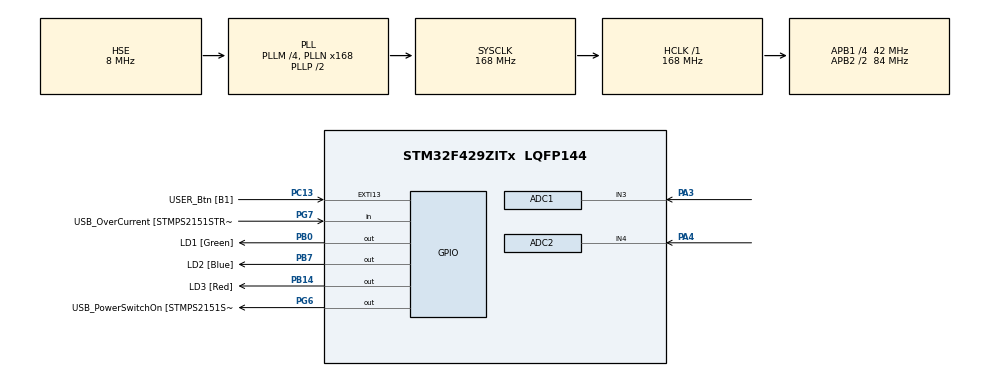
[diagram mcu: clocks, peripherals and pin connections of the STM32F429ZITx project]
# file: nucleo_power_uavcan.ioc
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ADC1.Channel-0\#ChannelRegularConversion=ADC_CHANNEL_3
ADC1.EnableAnalogWatchDog=false
ADC1.InjNumberOfConversion=0
ADC1.NbrOfConversion=1
ADC1.NbrOfConversionFlag=1
ADC1.Rank-0\#ChannelRegularConversion=1
ADC1.SamplingTime-0\#ChannelRegularConversion=ADC_SAMPLETIME_112CYCLES
ADC1.ScanConvMode=DISABLE
ADC1.master=1
ADC2.Channel-3\#ChannelRegularConversion=ADC_CHANNEL_4
ADC2.NbrOfConversionFlag=1
ADC2.Rank-3\#ChannelRegularConversion=1
ADC2.SamplingTime-3\#ChannelRegularConversion=ADC_SAMPLETIME_112CYCLES
Mcu.Family=STM32F4
Mcu.Name=STM32F429ZITx
Mcu.Package=LQFP144
NVIC.ADC_IRQn=true\:0\:0\:false\:false\:true\:true\:true
NVIC.PriorityGroup=NVIC_PRIORITYGROUP_4
PA1.GPIO_Label=RMII_REF_CLK [LAN8742A-CZ-TR_REFCLK0]
PA1.Signal=ETH_REF_CLK
PA10.GPIO_Label=USB_ID
PA10.Signal=USB_OTG_FS_ID
PA11.GPIO_Label=USB_DM
PA11.Signal=USB_OTG_FS_DM
PA12.GPIO_Label=USB_DP
PA12.Signal=USB_OTG_FS_DP
PA13.GPIO_Label=TMS
PA13.Mode=Serial_Wire
PA13.Signal=SYS_JTMS-SWDIO
PA14.GPIO_Label=TCK
PA14.Mode=Serial_Wire
PA14.Signal=SYS_JTCK-SWCLK
PA2.GPIO_Label=RMII_MDIO [LAN8742A-CZ-TR_MDIO]
PA2.Signal=ETH_MDIO
PA3.Signal=ADCx_IN3
PA4.Signal=ADCx_IN4
PA7.GPIO_Label=RMII_CRS_DV [LAN8742A-CZ-TR_CRS_DV]
PA7.Signal=ETH_CRS_DV
PA8.GPIO_Label=USB_SOF [TP1]
PA8.Signal=USB_OTG_FS_SOF
PA9.GPIO_Label=USB_VBUS
PA9.Signal=USB_OTG_FS_VBUS
PB0.GPIO_Label=LD1 [Green]
PB0.Signal=GPIO_Output
PB13.GPIO_Label=RMII_TXD1 [LAN8742A-CZ-TR_TXD1]
PB13.Signal=ETH_TXD1
PB14.GPIO_Label=LD3 [Red]
PB14.Signal=GPIO_Output
PB7.GPIO_Label=LD2 [Blue]
PB7.Signal=GPIO_Output
PC1.GPIO_Label=RMII_MDC [LAN8742A-CZ-TR_MDC]
PC1.Signal=ETH_MDC
PC13.GPIO_Label=USER_Btn [B1]
PC13.Signal=GPXTI13
PC14/OSC32_IN.Mode=LSE-External-Oscillator
PC14/OSC32_IN.Signal=RCC_OSC32_IN
PC15/OSC32_OUT.Mode=LSE-External-Oscillator
PC15/OSC32_OUT.Signal=RCC_OSC32_OUT
PC4.GPIO_Label=RMII_RXD0 [LAN8742A-CZ-TR_RXD0]
PC4.Signal=ETH_RXD0
PC5.GPIO_Label=RMII_RXD1 [LAN8742A-CZ-TR_RXD1]
PC5.Signal=ETH_RXD1
PD8.GPIO_Label=STLK_RX [STM32F103CBT6_PA3]
PD8.Signal=USART3_TX
PD9.GPIO_Label=STLK_TX [STM32F103CBT6_PA2]
PD9.Signal=USART3_RX
PG11.GPIO_Label=RMII_TX_EN [LAN8742A-CZ-TR_TXEN]
PG11.Signal=ETH_TX_EN
PG13.GPIO_Label=RMII_TXD0 [LAN8742A-CZ-TR_TXD0]
PG13.Signal=ETH_TXD0
PG6.GPIO_Label=USB_PowerSwitchOn [STMPS2151STR_EN]
PG6.Signal=GPIO_Output
PG7.GPIO_Label=USB_OverCurrent [STMPS2151STR_FAULT]
PG7.Signal=GPIO_Input
PH0/OSC_IN.GPIO_Label=MCO [STM32F103CBT6_PA8]
PH0/OSC_IN.Mode=HSE-External-Clock-Source
PH0/OSC_IN.Signal=RCC_OSC_IN
PH1/OSC_OUT.Mode=HSE-External-Clock-Source
PH1/OSC_OUT.Signal=RCC_OSC_OUT
ProjectManager.HeapSize=0x200
ProjectManager.StackSize=0x400
ProjectManager.TargetToolchain=SW4STM32
RCC.48MHZClocksFreq_Value=48000000
RCC.AHBFreq_Value=168000000
RCC.APB1CLKDivider=RCC_HCLK_DIV4
RCC.APB1Freq_Value=42000000
RCC.APB1TimFreq_Value=84000000
RCC.APB2CLKDivider=RCC_HCLK_DIV2
RCC.APB2Freq_Value=84000000
RCC.APB2TimCLKDivider=2
RCC.APB2TimFreq_Value=168000000
RCC.CortexFreq_Value=168000000
RCC.HCLKFreq_Value=168000000
RCC.HSE_VALUE=8000000
RCC.HSI_VALUE=16000000
RCC.PLLM=4
RCC.PLLMUL=RCC_PLL_MUL9
RCC.PLLN=168
RCC.PLLQ=7
RCC.PLLSourceVirtual=RCC_PLLSOURCE_HSE
RCC.PRESCALERUSB=RCC_USBCLKSOURCE_PLL_DIV1_5
RCC.SYSCLKFreq_VALUE=168000000
RCC.SYSCLKSource=RCC_SYSCLKSOURCE_PLLCLK
RCC.SYSCLKSourceVirtual=RCC_SYSCLKSOURCE_PLLCLK
RCC.USBFreq_Value=48000000
RCC.VCOOutputFreq_Value=336000000
SH.ADCx_IN3.0=ADC1_IN3,IN3
SH.ADCx_IN4.0=ADC2_IN4,IN4
VP_ADC1_TempSens_Input.Mode=IN-TempSens
board=NUCLEO-F429ZI

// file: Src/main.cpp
/* USER CODE BEGIN Header */
/**
  ******************************************************************************
  * @file           : main.c
  * @brief          : Main program body
  ******************************************************************************
  * @attention
  *
  * <h2><center>&copy; Copyright (c) 2020 STMicroelectronics.
  * All rights reserved.</center></h2>
  *
  * This software component is licensed by ST under BSD 3-Clause license,
  * the "License"; You may not use this file except in compliance with the
  * License. You may obtain a copy of the License at:
  *                        opensource.org/licenses/BSD-3-Clause
  *
  ******************************************************************************
  */
/* USER CODE END Header */

#include "main.h"
#include "adc.h"
#include "gpio.h"

/* USER CODE BEGIN Includes */

#include "chip.h"

//#include "uavcan_stm32/uavcan_stm32.hpp"
//#include "uavcan/equipment/power/BatteryInfo.hpp"
#include "uavcanIPS.h"

/* USER CODE END Includes */

/* USER CODE BEGIN PD */
//#define T_CONV_MSEC  (HAL_RCC_GetPCLK2Freq() / (uint32_t)((RCC->CFGR & RCC_CFGR_PPRE2) >> 3U))
#define T_CONV_MSEC ((112 + 12) / 168000)
/* USER CODE END PD */

/* USER CODE BEGIN PV */
uavcanIPS *pBarsuk_power;
//uint32_t adc_raw;
/* USER CODE END PV */

void SystemClock_Config(void);
/* USER CODE BEGIN PFP */
void can_init();
/* USER CODE END PFP */

int main(void)
{

  /* MCU Configuration--------------------------------------------------------*/

  /* Reset of all peripherals, Initializes the Flash interface and the Systick. */
  HAL_Init();

  /* Configure the system clock */
  SystemClock_Config();

  /* Initialize all configured peripherals */
  MX_GPIO_Init();
  MX_ADC1_Init();
  MX_ADC2_Init();
  /* USER CODE BEGIN 2 */
  can_init();
  uavcanIPS barsuk_power;
  pBarsuk_power = &barsuk_power;
  barsuk_power.init();
  /* USER CODE END 2 */

  /* Infinite loop */
  /* USER CODE BEGIN WHILE */
  while (1)
  {
	  barsuk_power.routine();

//	  HAL_ADC_Start(&hadc1);
//	  HAL_ADC_PollForConversion(&hadc1, T_CONV_MSEC + 10);
//	  barsuk_power.adc_to_volt(HAL_ADC_GetValue(&hadc1));
//	  HAL_ADC_Stop(&hadc1);
//
//	  HAL_ADC_Start(&hadc2);
//	  HAL_ADC_PollForConversion(&hadc2, T_CONV_MSEC + 10);
//	  barsuk_power.adc_to_curr(HAL_ADC_GetValue(&hadc2));
//	  HAL_ADC_Stop(&hadc2);

	  HAL_ADC_Start_IT(&hadc1);
	  HAL_ADC_Start_IT(&hadc2);
    /* USER CODE END WHILE */

  }
}

void SystemClock_Config(void)
{
	RCC_OscInitTypeDef RCC_OscInitStruct = {0};
	RCC_ClkInitTypeDef RCC_ClkInitStruct = {0};

	/** Configure the main internal regulator output voltage
	*/
	__HAL_RCC_PWR_CLK_ENABLE();
	__HAL_PWR_VOLTAGESCALING_CONFIG(PWR_REGULATOR_VOLTAGE_SCALE1);
	/** Initializes the RCC Oscillators according to the specified parameters
	* in the RCC_OscInitTypeDef structure.
	*/
	RCC_OscInitStruct.OscillatorType = RCC_OSCILLATORTYPE_HSE;
	RCC_OscInitStruct.HSEState = RCC_HSE_BYPASS;
	RCC_OscInitStruct.PLL.PLLState = RCC_PLL_ON;
	RCC_OscInitStruct.PLL.PLLSource = RCC_PLLSOURCE_HSE;
	RCC_OscInitStruct.PLL.PLLM = 4;
	RCC_OscInitStruct.PLL.PLLN = 168;
	RCC_OscInitStruct.PLL.PLLP = RCC_PLLP_DIV2;
	RCC_OscInitStruct.PLL.PLLQ = 7;
	if (HAL_RCC_OscConfig(&RCC_OscInitStruct) != HAL_OK)
	{
		Error_Handler();
	}
	/** Initializes the CPU, AHB and APB buses clocks
	*/
	RCC_ClkInitStruct.ClockType = RCC_CLOCKTYPE_HCLK|RCC_CLOCKTYPE_SYSCLK
							  |RCC_CLOCKTYPE_PCLK1|RCC_CLOCKTYPE_PCLK2;
	RCC_ClkInitStruct.SYSCLKSource = RCC_SYSCLKSOURCE_PLLCLK;
	RCC_ClkInitStruct.AHBCLKDivider = RCC_SYSCLK_DIV1;
	RCC_ClkInitStruct.APB1CLKDivider = RCC_HCLK_DIV4;
	RCC_ClkInitStruct.APB2CLKDivider = RCC_HCLK_DIV2;

	if (HAL_RCC_ClockConfig(&RCC_ClkInitStruct, FLASH_LATENCY_5) != HAL_OK)
	{
		Error_Handler();
	}
}

/* USER CODE BEGIN 4 */
void HAL_ADC_ConvCpltCallback(ADC_HandleTypeDef* hadc) {
	if (hadc->Instance == ADC1) {
		pBarsuk_power->adc_to_volt(HAL_ADC_GetValue(hadc));
	}
	else if (hadc->Instance == ADC2)
		pBarsuk_power->adc_to_curr(HAL_ADC_GetValue(hadc));
//	adc_raw = HAL_ADC_GetValue(hadc);
}
/* USER CODE END 4 */

void Error_Handler(void)
{
}

void can_init() {
	//gpiod clock is enabled before, because should not
	GPIO_InitTypeDef CAN1_AFIO;
	//Configure CAN1_RX_Pin
	CAN1_AFIO.Pin = CAN1_RX_Pin;
	CAN1_AFIO.Mode = GPIO_MODE_AF_PP;
	CAN1_AFIO.Pull = GPIO_NOPULL;
	CAN1_AFIO.Speed = GPIO_SPEED_FREQ_VERY_HIGH;
	CAN1_AFIO.Alternate = GPIO_AF9_CAN1;
	HAL_GPIO_Init(CAN1_RX_GPIO, &CAN1_AFIO);

	//Configure CAN1_TX_Pin
	CAN1_AFIO.Pin = CAN1_TX_Pin;
	CAN1_AFIO.Mode = GPIO_MODE_AF_PP;
	CAN1_AFIO.Pull = GPIO_NOPULL;
	CAN1_AFIO.Speed = GPIO_SPEED_FREQ_VERY_HIGH;
	CAN1_AFIO.Alternate = GPIO_AF9_CAN1;
	HAL_GPIO_Init(CAN1_TX_GPIO, &CAN1_AFIO);
}

/************************ (C) COPYRIGHT STMicroelectronics *****END OF FILE****/
